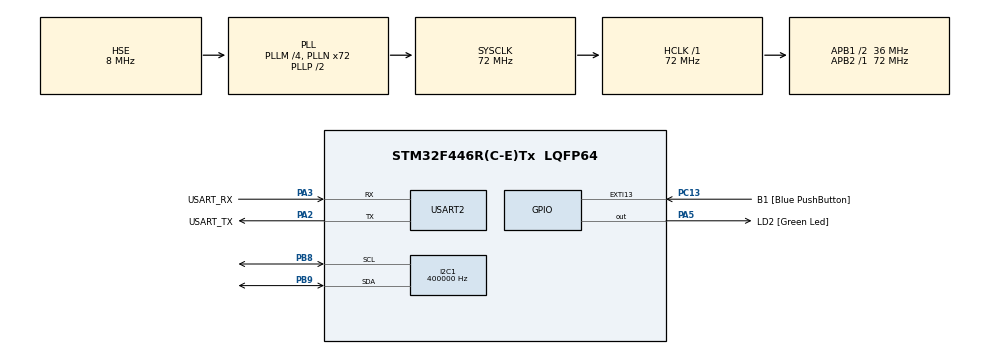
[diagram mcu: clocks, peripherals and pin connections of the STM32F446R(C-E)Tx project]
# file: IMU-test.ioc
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I2C1.ClockSpeed=400000
I2C1.I2C_Speed_Mode=I2C_Fast
Mcu.Family=STM32F4
Mcu.Name=STM32F446R(C-E)Tx
Mcu.Package=LQFP64
NVIC.PriorityGroup=NVIC_PRIORITYGROUP_0
PA13.GPIO_Label=TMS
PA13.Mode=Serial_Wire
PA13.Signal=SYS_JTMS-SWDIO
PA14.GPIO_Label=TCK
PA14.Mode=Serial_Wire
PA14.Signal=SYS_JTCK-SWCLK
PA2.GPIO_Label=USART_TX
PA2.Mode=Asynchronous
PA2.Signal=USART2_TX
PA3.GPIO_Label=USART_RX
PA3.Mode=Asynchronous
PA3.Signal=USART2_RX
PA5.GPIO_Label=LD2 [Green Led]
PA5.Signal=GPIO_Output
PB3.GPIO_Label=SWO
PB3.Signal=SYS_JTDO-SWO
PB8.Mode=I2C
PB8.Signal=I2C1_SCL
PB9.Mode=I2C
PB9.Signal=I2C1_SDA
PC13.GPIO_Label=B1 [Blue PushButton]
PC13.GPIO_ModeDefaultEXTI=GPIO_MODE_IT_FALLING
PC13.Signal=GPXTI13
PC14-OSC32_IN.Signal=RCC_OSC32_IN
PC15-OSC32_OUT.Signal=RCC_OSC32_OUT
PH0-OSC_IN.Mode=HSE-External-Oscillator
PH0-OSC_IN.Signal=RCC_OSC_IN
PH1-OSC_OUT.Mode=HSE-External-Oscillator
PH1-OSC_OUT.Signal=RCC_OSC_OUT
ProjectManager.HeapSize=0x200
ProjectManager.StackSize=0x400
ProjectManager.TargetToolchain=STM32CubeIDE
RCC.48MHZClocksFreq_Value=84000000
RCC.AHBFreq_Value=72000000
RCC.APB1CLKDivider=RCC_HCLK_DIV2
RCC.APB1Freq_Value=36000000
RCC.APB1TimFreq_Value=72000000
RCC.APB2Freq_Value=72000000
RCC.APB2TimFreq_Value=72000000
RCC.CortexFreq_Value=72000000
RCC.FLatency-AdvancedSettings=FLASH_LATENCY_2
RCC.HCLKFreq_Value=72000000
RCC.HSE_VALUE=8000000
RCC.HSI_VALUE=16000000
RCC.PLLM=4
RCC.PLLN=72
RCC.PLLSourceVirtual=RCC_PLLSOURCE_HSE
RCC.SYSCLKFreq_VALUE=72000000
RCC.SYSCLKSource=RCC_SYSCLKSOURCE_PLLCLK
RCC.USBFreq_Value=72000000
RCC.VCOOutputFreq_Value=144000000
USART2.VirtualMode=VM_ASYNC
board=NUCLEO-F446RE

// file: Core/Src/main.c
/* USER CODE BEGIN Header */
/**
  ******************************************************************************
  * @file           : main.c
  * @brief          : Main program body
  ******************************************************************************
  * @attention
  *
  * Copyright (c) 2026 STMicroelectronics.
  * All rights reserved.
  *
  * This software is licensed under terms that can be found in the LICENSE file
  * in the root directory of this software component.
  * If no LICENSE file comes with this software, it is provided AS-IS.
  *
  ******************************************************************************
  */
/* USER CODE END Header */
#include "main.h"

/* USER CODE BEGIN Includes */
#include <stdio.h>
/* USER CODE END Includes */

/* USER CODE BEGIN PD */
#define MPU6050_ADDR          (0x68 << 1)   // 0xD0, HAL expects the 8-bit address
#define MPU6050_ACCEL_XOUT_H  0x3B
#define MPU6050_PWR_MGMT_1    0x6B
#define MPU6050_WHO_AM_I      0x75
#define ACCEL_LSB_PER_G       16384.0f      // ±2 g
#define GYRO_LSB_PER_DPS      131.0f        // ±250 °/s
#define GYRO_CAL_SAMPLES      500           // ~1.5 s at rest; more = less noise in the bias
#define GYRO_DEADBAND_DPS     0.5f          // |rate| below this reads 0; raise if it still flickers at rest
/* USER CODE END PD */

I2C_HandleTypeDef hi2c1;

UART_HandleTypeDef huart2;

void SystemClock_Config(void);
static void MX_GPIO_Init(void);
static void MX_USART2_UART_Init(void);
static void MX_I2C1_Init(void);

/* USER CODE BEGIN 0 */
// Link newlib-nano's float formatter so printf("%f") works. Same effect as the
// project setting "Use float with printf from newlib-nano (-u _printf_float)".
__asm(".global _printf_float");

// printf -> USART2 (the ST-LINK virtual COM port). syscalls.c _write() calls this.
int __io_putchar(int ch)
{
  HAL_UART_Transmit(&huart2, (uint8_t *)&ch, 1, HAL_MAX_DELAY);
  return ch;
}

static HAL_StatusTypeDef MPU6050_Init(void)
{
  uint8_t who = 0, wake = 0x00;

  if (HAL_I2C_Mem_Read(&hi2c1, MPU6050_ADDR, MPU6050_WHO_AM_I, I2C_MEMADD_SIZE_8BIT, &who, 1, 100) != HAL_OK)
    return HAL_ERROR;
  printf("WHO_AM_I = 0x%02X (expect 0x68)\r\n", who);

  // Clear the SLEEP bit: PWR_MGMT_1 = 0x00
  return HAL_I2C_Mem_Write(&hi2c1, MPU6050_ADDR, MPU6050_PWR_MGMT_1, I2C_MEMADD_SIZE_8BIT, &wake, 1, 100);
}

// Burst-read the 14 data registers into raw[]: AX AY AZ TEMP GX GY GZ
static HAL_StatusTypeDef MPU6050_ReadRaw(int16_t raw[7])
{
  uint8_t buf[14];

  if (HAL_I2C_Mem_Read(&hi2c1, MPU6050_ADDR, MPU6050_ACCEL_XOUT_H, I2C_MEMADD_SIZE_8BIT, buf, 14, 100) != HAL_OK)
    return HAL_ERROR;
  for (int i = 0; i < 7; i++)
    raw[i] = (int16_t)(buf[2 * i] << 8 | buf[2 * i + 1]);  // big-endian pairs
  return HAL_OK;
}
/* USER CODE END 0 */

int main(void)
{

  /* MCU Configuration--------------------------------------------------------*/

  /* Reset of all peripherals, Initializes the Flash interface and the Systick. */
  HAL_Init();

  /* Configure the system clock */
  SystemClock_Config();

  /* Initialize all configured peripherals */
  MX_GPIO_Init();
  MX_USART2_UART_Init();
  MX_I2C1_Init();
  /* USER CODE BEGIN 2 */
  HAL_Delay(100);  // MPU6050 power-up time (datasheet: 100 ms max)
  if (MPU6050_Init() != HAL_OK)
  {
    printf("MPU6050 not responding at 0x68. I2C bus scan:\r\n");
    for (uint8_t a = 1; a < 128; a++)
      if (HAL_I2C_IsDeviceReady(&hi2c1, a << 1, 1, 10) == HAL_OK)
        printf("  device at 0x%02X\r\n", a);
    printf("Scan done - nothing listed = check SDA/SCL swap, 0x69 = AD0 is high\r\n");
    Error_Handler();
  }
  printf("MPU6050 awake\r\n");

  // Gyro zero-rate bias: average the gyro while the sensor sits still, subtract it later
  int16_t raw[7];
  int32_t sum[3] = {0};
  float gyro_bias[3];

  printf("Calibrating gyro - keep the sensor still...\r\n");
  HAL_Delay(100);  // let the gyro settle after wake-up
  for (int n = 0; n < GYRO_CAL_SAMPLES; n++)
  {
    if (MPU6050_ReadRaw(raw) != HAL_OK)
    {
      printf("I2C read error during calibration\r\n");
      Error_Handler();
    }
    for (int i = 0; i < 3; i++)
      sum[i] += raw[4 + i];
    HAL_Delay(2);
  }
  for (int i = 0; i < 3; i++)
    gyro_bias[i] = (float)sum[i] / GYRO_CAL_SAMPLES;
  printf("Gyro bias removed [deg/s]  X:%.2f Y:%.2f Z:%.2f\r\n",
         gyro_bias[0] / GYRO_LSB_PER_DPS, gyro_bias[1] / GYRO_LSB_PER_DPS, gyro_bias[2] / GYRO_LSB_PER_DPS);
  /* USER CODE END 2 */

  /* Infinite loop */
  while (1)
  {

    /* USER CODE BEGIN 3 */
    if (MPU6050_ReadRaw(raw) == HAL_OK)
    {
      float gyro[3];
      for (int i = 0; i < 3; i++)
      {
        gyro[i] = (raw[4 + i] - gyro_bias[i]) / GYRO_LSB_PER_DPS;
        if (gyro[i] > -GYRO_DEADBAND_DPS && gyro[i] < GYRO_DEADBAND_DPS)
          gyro[i] = 0.0f;  // deadband: residual noise at rest = no rotation
      }

      printf("Accel [g]  X:%7.3f Y:%7.3f Z:%7.3f  |  Gyro [deg/s]  X:%8.2f Y:%8.2f Z:%8.2f\r\n",
             raw[0] / ACCEL_LSB_PER_G, raw[1] / ACCEL_LSB_PER_G, raw[2] / ACCEL_LSB_PER_G,
             gyro[0], gyro[1], gyro[2]);
    }
    else
    {
      printf("I2C read error\r\n");
    }
    HAL_Delay(500);
  }
  /* USER CODE END 3 */
}

void SystemClock_Config(void)
{
  RCC_OscInitTypeDef RCC_OscInitStruct = {0};
  RCC_ClkInitTypeDef RCC_ClkInitStruct = {0};

  /** Configure the main internal regulator output voltage
  */
  __HAL_RCC_PWR_CLK_ENABLE();
  __HAL_PWR_VOLTAGESCALING_CONFIG(PWR_REGULATOR_VOLTAGE_SCALE3);

  /** Initializes the RCC Oscillators according to the specified parameters
  * in the RCC_OscInitTypeDef structure.
  */
  RCC_OscInitStruct.OscillatorType = RCC_OSCILLATORTYPE_HSE;
  RCC_OscInitStruct.HSEState = RCC_HSE_ON;
  RCC_OscInitStruct.PLL.PLLState = RCC_PLL_ON;
  RCC_OscInitStruct.PLL.PLLSource = RCC_PLLSOURCE_HSE;
  RCC_OscInitStruct.PLL.PLLM = 4;
  RCC_OscInitStruct.PLL.PLLN = 72;
  RCC_OscInitStruct.PLL.PLLP = RCC_PLLP_DIV2;
  RCC_OscInitStruct.PLL.PLLQ = 2;
  RCC_OscInitStruct.PLL.PLLR = 2;
  if (HAL_RCC_OscConfig(&RCC_OscInitStruct) != HAL_OK)
  {
    Error_Handler();
  }

  /** Initializes the CPU, AHB and APB buses clocks
  */
  RCC_ClkInitStruct.ClockType = RCC_CLOCKTYPE_HCLK|RCC_CLOCKTYPE_SYSCLK
                              |RCC_CLOCKTYPE_PCLK1|RCC_CLOCKTYPE_PCLK2;
  RCC_ClkInitStruct.SYSCLKSource = RCC_SYSCLKSOURCE_PLLCLK;
  RCC_ClkInitStruct.AHBCLKDivider = RCC_SYSCLK_DIV1;
  RCC_ClkInitStruct.APB1CLKDivider = RCC_HCLK_DIV2;
  RCC_ClkInitStruct.APB2CLKDivider = RCC_HCLK_DIV1;

  if (HAL_RCC_ClockConfig(&RCC_ClkInitStruct, FLASH_LATENCY_2) != HAL_OK)
  {
    Error_Handler();
  }
}

static void MX_I2C1_Init(void)
{

  hi2c1.Instance = I2C1;
  hi2c1.Init.ClockSpeed = 400000;
  hi2c1.Init.DutyCycle = I2C_DUTYCYCLE_2;
  hi2c1.Init.OwnAddress1 = 0;
  hi2c1.Init.AddressingMode = I2C_ADDRESSINGMODE_7BIT;
  hi2c1.Init.DualAddressMode = I2C_DUALADDRESS_DISABLE;
  hi2c1.Init.OwnAddress2 = 0;
  hi2c1.Init.GeneralCallMode = I2C_GENERALCALL_DISABLE;
  hi2c1.Init.NoStretchMode = I2C_NOSTRETCH_DISABLE;
  if (HAL_I2C_Init(&hi2c1) != HAL_OK)
  {
    Error_Handler();
  }

}

static void MX_USART2_UART_Init(void)
{

  huart2.Instance = USART2;
  huart2.Init.BaudRate = 115200;
  huart2.Init.WordLength = UART_WORDLENGTH_8B;
  huart2.Init.StopBits = UART_STOPBITS_1;
  huart2.Init.Parity = UART_PARITY_NONE;
  huart2.Init.Mode = UART_MODE_TX_RX;
  huart2.Init.HwFlowCtl = UART_HWCONTROL_NONE;
  huart2.Init.OverSampling = UART_OVERSAMPLING_16;
  if (HAL_UART_Init(&huart2) != HAL_OK)
  {
    Error_Handler();
  }

}

static void MX_GPIO_Init(void)
{
  GPIO_InitTypeDef GPIO_InitStruct = {0};

  /* GPIO Ports Clock Enable */
  __HAL_RCC_GPIOC_CLK_ENABLE();
  __HAL_RCC_GPIOH_CLK_ENABLE();
  __HAL_RCC_GPIOA_CLK_ENABLE();
  __HAL_RCC_GPIOB_CLK_ENABLE();

  /*Configure GPIO pin Output Level */
  HAL_GPIO_WritePin(LD2_GPIO_Port, LD2_Pin, GPIO_PIN_RESET);

  /*Configure GPIO pin : B1_Pin */
  GPIO_InitStruct.Pin = B1_Pin;
  GPIO_InitStruct.Mode = GPIO_MODE_IT_FALLING;
  GPIO_InitStruct.Pull = GPIO_NOPULL;
  HAL_GPIO_Init(B1_GPIO_Port, &GPIO_InitStruct);

  /*Configure GPIO pin : LD2_Pin */
  GPIO_InitStruct.Pin = LD2_Pin;
  GPIO_InitStruct.Mode = GPIO_MODE_OUTPUT_PP;
  GPIO_InitStruct.Pull = GPIO_NOPULL;
  GPIO_InitStruct.Speed = GPIO_SPEED_FREQ_LOW;
  HAL_GPIO_Init(LD2_GPIO_Port, &GPIO_InitStruct);

}

void Error_Handler(void)
{
  __disable_irq();
  while (1)
  {
  }
}
